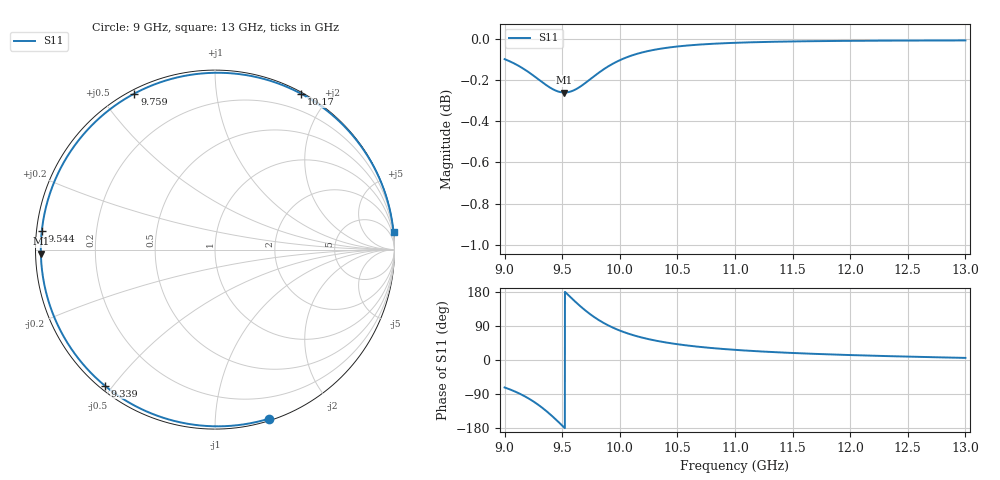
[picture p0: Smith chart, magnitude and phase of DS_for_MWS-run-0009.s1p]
! TOUCHSTONE file generated by CST DESIGN STUDIO
! Date and time: Tue Feb  4 12:34:30 2025
! Project name: C:\Work\MatlabApps\UnitCellOptimizationMatlab\CST\unitcell.cst
! Tree item: Tasks\Sweep1\SPara1\S-Parameters
! Header version: 2024
! Port assignment regex: !\s*Touchstone port\s*([0-9]+)\s*=\s*(CST MWS port|CST DES external port|CST DES block port)\s*(.+)\s* \(\"(.*)\"\)(\s*mode\s*([0-9]+))?.*
! Touchstone port assignment:
! Touchstone port 1 = CST DES external port 1 ("")
# GHz S MA R 50
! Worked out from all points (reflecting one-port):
!   4001 points, 9 GHz to 13 GHz, reference 50 ohm
!   lowest |S11| = -0.3 dB at 9.519 GHz (marker M1), VSWR 66.85, Z = 0.748 - j0.595 ohm
!   phase of S11 starts at -72 deg and turns -282 deg over the sweep
!   S11 on the Smith chart (normalised r, x): 9 GHz: 0.02, -1.36; 9.339 GHz: 0.02, -0.48; 9.544 GHz: 0.01, +0.05; 9.759 GHz: 0.01, +0.61; 10.17 GHz: 0.02, +1.69; 13 GHz: 0, +21
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9  0.9888 -72.5
9.093  0.9861 -83.6
9.198  0.9821 -99.7
9.272  0.9787 -113.9
9.339  0.9756 -129.0
9.383  0.9736 -140.1
9.428  0.972 -152.3
9.5  0.9706 -173.0
9.519  0.9705 -178.6
9.544  0.9706 174.0
9.597  0.9716 158.5
9.657  0.9737 142.0
9.708  0.9761 129.0
9.759  0.9785 117.3
9.809  0.9809 107.0
9.864  0.9834 97.1
9.932  0.986 86.5
10  0.9882 77.7
10.081  0.9903 68.9
10.168  0.9921 61.1
10.319  0.9942 50.7
10.5  0.9959 41.7
10.721  0.997 33.8
11  0.9979 26.8
11.5  0.9987 18.5
12  0.999 13.0
12.5  0.9992 8.9
13  0.9992 5.5
